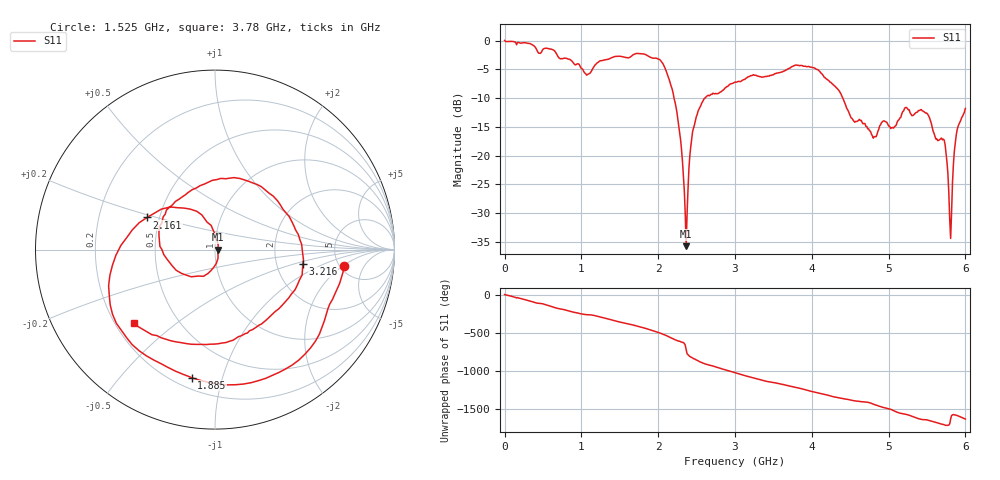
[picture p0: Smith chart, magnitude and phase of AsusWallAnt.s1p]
# Hz S RI R 50
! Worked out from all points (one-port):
!   501 points, 1 MHz to 6 GHz, reference 50 ohm
!   lowest |S11| = -35.8 dB at 2.365 GHz (marker M1), VSWR 1.03, Z = 51.7 - j0.0646 ohm
!   |S11| at or under -10 dB: 2.207 GHz to 2.608 GHz (400.9 MHz wide, 16.7 % of centre); 4.404 GHz to end of sweep
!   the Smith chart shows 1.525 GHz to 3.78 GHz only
!   S11 on the Smith chart (normalised r, x): 1.525 GHz: 5.46, -2.16; 1.885 GHz: 0.27, -0.80; 2.161 GHz: 0.43, +0.19; 3.216 GHz: 2.82, -0.62; 3.78 GHz: 0.28, -0.36
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1000000  1.003 -0.00593
3.36944e8  0.0433 -0.9391
6.009e8  -0.7597 -0.3699
7.56874e8  -0.6749 0.1697
1.224796e9  0.2214 0.614
1.50075e9  0.7307 -0.0209
1.524746e9  0.7213 -0.0932
1.884686e9  -0.1307 -0.713
2.04066e9  -0.5839 -0.3079
2.16064e9  -0.3788 0.179
2.256624e9  -0.0733 0.1932
2.364606e9  0.0163 -0.000625
2.436594e9  -0.0393 -0.1331
2.52058e9  -0.2162 -0.1153
2.712548e9  -0.2708 0.22
3.0005e9  0.2581 0.3506
3.216464e9  0.4891 -0.0824
3.504416e9  0.1171 -0.4939
3.756374e9  -0.4016 -0.4454
3.78037e9  -0.4503 -0.4115
4.116314e9  -0.3948 0.3454
4.50025e9  0.1286 0.1812
4.812198e9  0.1451 -0.00964
5.256124e9  -0.1967 -0.1551
5.712048e9  -0.00788 0.1388
5.808032e9  -0.0184 0.00493
5.88002e9  -0.1224 -0.0861
6e9  -0.247 0.0713
